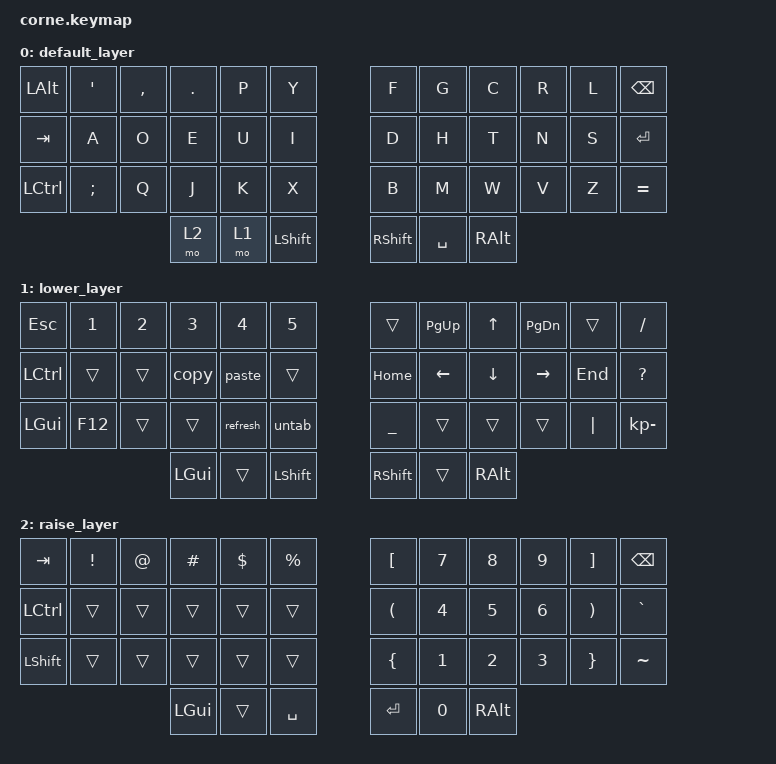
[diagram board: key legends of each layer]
/*
 * Copyright (c) 2020 The ZMK Contributors
 *
 * SPDX-License-Identifier: MIT
 */

#include <behaviors.dtsi>
#include <dt-bindings/zmk/keys.h>
#include <dt-bindings/zmk/bt.h>

/ {
  macros {
        copy: copy {
            label = "copy";
            compatible = "zmk,behavior-macro";
            #binding-cells = <0>;
            bindings
                = <&macro_press &kp LCTRL>
                , <&macro_tap &kp C>
                , <&macro_release &kp LCTRL>
                ;
        };

         paste: paste {
            label = "paste";
            compatible = "zmk,behavior-macro";
            #binding-cells = <0>;
            bindings
                = <&macro_press &kp LCTRL>
                , <&macro_tap &kp V>
                , <&macro_release &kp LCTRL>
                ;
        };

        untab: untab {
            label = "untab";
            compatible = "zmk,behavior-macro";
            #binding-cells = <0>;
            bindings
                = <&macro_press &kp LCTRL>
                , <&macro_tap &kp W>
                , <&macro_release &kp LCTRL>
                ;
        };

        refresh: refresh {
            label = "refresh";
            compatible = "zmk,behavior-macro";
            #binding-cells = <0>;
            bindings
                = <&macro_press &kp LCTRL>
                , <&macro_tap &kp R>
                , <&macro_release &kp LCTRL>
                ;
        };
    };
        keymap {
                compatible = "zmk,keymap";

     
                default_layer {
// -----------------------------------------------------------------------------------------
// | LALT |  '  |  ,  |  .  |  P  |  Y  |   |  F  |  G   |  C  |  R  |  L  | BKSP |
// | TAB  |  A  |  O  |  E  |  U  |  I  |   |  D  |  H   |  T  |  N  |  S  |  ENT |
// | LCTRL|  ;  |  Q  |  J  |  K  |  X  |   |  B  |  M   |  W  |  V  |  Z  |   =  |
//                    | RSE | LWR | SHFT |  | SHFT| RSE  | ALT |
                        bindings = <
   &kp LALT &kp SQT &kp COMMA &kp DOT &kp P &kp Y   &kp F &kp G  &kp C     &kp R   &kp L    &kp BSPC
   &kp TAB &kp A &kp O &kp E &kp U &kp I   &kp D &kp H  &kp T     &kp N   &kp S &kp RET
   &kp LCTRL &kp SEMI &kp Q &kp J &kp K &kp X   &kp B &kp M  &kp W &kp V &kp Z &kp EQUAL
                  &mo 2 &mo 1 &kp LSHFT   &kp RSHFT &kp SPACE &kp RALT
                        >;
                };
                lower_layer {
                        bindings 
                        = <&copy>,
                          <&paste>,
                          <&untab>,
                          <&refresh>      
                        ;
// -----------------------------------------------------------------------------------------
// |  ESC |  1  |  2  |  3  |  4  |  5  |   |     |PG_UP |  UP  |PG_DN|     | FSLH   |
// | LCTRL|     |     | copy|paste|     |   | HOME|  LEFT| DOWN |RIGHT| END | QMARK  |
// | GUI  | F12 |     |     |refresh|untab|   |  _  |      |      |     | "|" | KP_MINUS  | 
//                    | GUI |     | SHFT |   | SHFT |     | ALT |
                        bindings = <
   &kp ESC &kp N1 &kp N2 &kp N3 &kp N4 &kp N5 &trans &kp PG_UP &kp UP &kp PG_DN &trans &kp FSLH
   &kp LCTRL &trans &trans &copy &paste &trans &kp HOME &kp LEFT &kp DOWN &kp RIGHT &kp END  &kp QMARK
   &kp LGUI  &kp F12 &trans  &trans &refresh &untab  &kp UNDER   &trans   &trans &trans    &kp PIPE &kp KP_MINUS
                                    &kp LGUI     &trans       &kp LSHFT      &kp RSHFT  &trans   &kp RALT
                        >;
                };

                raise_layer {
// -----------------------------------------------------------------------------------------
// |  TAB |  !  |  @  |  #  |  $  |  %  |   |  [  |  7  |  8  |  9  |  ]  | BKSP |
// | CTRL |     |     |     |     |     |   |  (  |  4  |  5  |  6  |  )  |  `   |
// | SHFT |     |     |     |     |     |   |  {  |  1  |  2  |  3  | } |  ~   |
//                    | GUI |     | SPC |   | ENT |  0  | ALT |
                        bindings = <
   &kp  TAB  &kp EXCL &kp AT &kp HASH &kp DLLR &kp PRCNT   &kp LBKT &kp N7  &kp N8 &kp N9 &kp RBKT &kp BSPC
   &kp LCTRL &trans   &trans &trans   &trans   &trans      &kp LPAR &kp N4  &kp N5  &kp N6 &kp RPAR &kp GRAVE
   &kp LSHFT &trans   &trans &trans   &trans   &trans      &kp LBRC &kp N1  &kp N2  &kp N3 &kp RBRC &kp TILDE
                             &kp LGUI &trans   &kp SPACE   &kp RET  &kp N0    &kp RALT
                        >;
                };
        };
};
